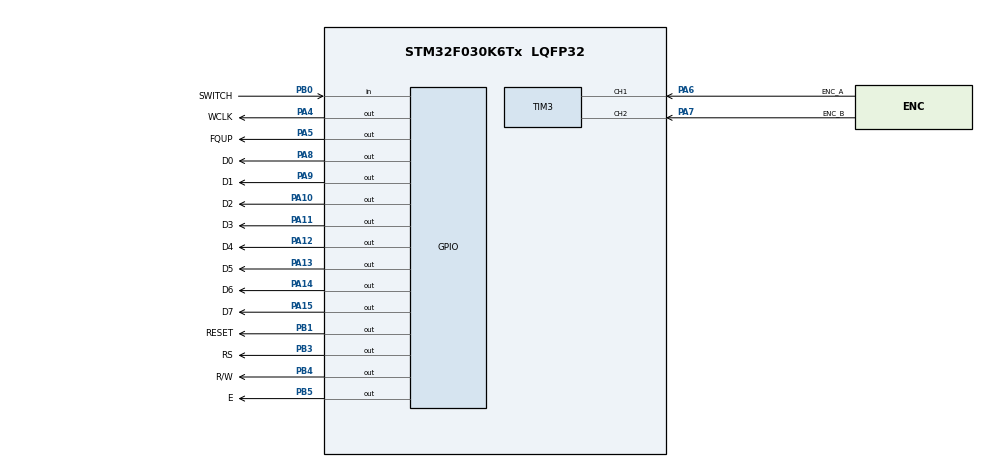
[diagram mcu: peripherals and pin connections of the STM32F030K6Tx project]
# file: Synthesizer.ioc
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Mcu.Family=STM32F0
Mcu.Name=STM32F030K6Tx
Mcu.Package=LQFP32
PA10.GPIO_FMA10=HAL_SYSCFG_FASTMODEPLUS_I2C_PA10
PA10.GPIO_Label=D2
PA10.GPIO_ModeDefaultOutputPP=GPIO_MODE_OUTPUT_PP
PA10.GPIO_PuPd=GPIO_NOPULL
PA10.GPIO_Speed=GPIO_SPEED_HIGH
PA10.Signal=GPIO_Output
PA11.GPIO_Label=D3
PA11.GPIO_ModeDefaultOutputPP=GPIO_MODE_OUTPUT_PP
PA11.GPIO_PuPd=GPIO_NOPULL
PA11.GPIO_Speed=GPIO_SPEED_HIGH
PA11.Signal=GPIO_Output
PA12.GPIO_Label=D4
PA12.GPIO_ModeDefaultOutputPP=GPIO_MODE_OUTPUT_PP
PA12.GPIO_PuPd=GPIO_NOPULL
PA12.GPIO_Speed=GPIO_SPEED_HIGH
PA12.Signal=GPIO_Output
PA13.GPIO_Label=D5
PA13.GPIO_ModeDefaultOutputPP=GPIO_MODE_OUTPUT_PP
PA13.GPIO_PuPd=GPIO_NOPULL
PA13.GPIO_Speed=GPIO_SPEED_HIGH
PA13.Signal=GPIO_Output
PA14.GPIO_Label=D6
PA14.GPIO_ModeDefaultOutputPP=GPIO_MODE_OUTPUT_PP
PA14.GPIO_PuPd=GPIO_NOPULL
PA14.GPIO_Speed=GPIO_SPEED_HIGH
PA14.Signal=GPIO_Output
PA15.GPIO_Label=D7
PA15.GPIO_ModeDefaultOutputPP=GPIO_MODE_OUTPUT_PP
PA15.GPIO_PuPd=GPIO_NOPULL
PA15.GPIO_Speed=GPIO_SPEED_HIGH
PA15.Signal=GPIO_Output
PA4.GPIO_Label=WCLK
PA4.GPIO_ModeDefaultOutputPP=GPIO_MODE_OUTPUT_PP
PA4.GPIO_PuPd=GPIO_NOPULL
PA4.GPIO_Speed=GPIO_SPEED_HIGH
PA4.Signal=GPIO_Output
PA5.GPIO_Label=FQUP
PA5.GPIO_ModeDefaultOutputPP=GPIO_MODE_OUTPUT_PP
PA5.GPIO_PuPd=GPIO_NOPULL
PA5.GPIO_Speed=GPIO_SPEED_HIGH
PA5.Signal=GPIO_Output
PA6.GPIO_Label=ENC_A
PA6.GPIO_ModeDefaultPP=GPIO_MODE_AF_PP
PA6.GPIO_PuPd=GPIO_PULLUP
PA6.GPIO_Speed=GPIO_SPEED_LOW
PA6.Signal=S_TIM3_CH1
PA7.GPIO_Label=ENC_B
PA7.GPIO_ModeDefaultPP=GPIO_MODE_AF_PP
PA7.GPIO_PuPd=GPIO_PULLUP
PA7.GPIO_Speed=GPIO_SPEED_LOW
PA7.Signal=S_TIM3_CH2
PA8.GPIO_Label=D0
PA8.GPIO_ModeDefaultOutputPP=GPIO_MODE_OUTPUT_PP
PA8.GPIO_PuPd=GPIO_NOPULL
PA8.GPIO_Speed=GPIO_SPEED_HIGH
PA8.Signal=GPIO_Output
PA9.GPIO_FMA9=HAL_SYSCFG_FASTMODEPLUS_I2C_PA9
PA9.GPIO_Label=D1
PA9.GPIO_ModeDefaultOutputPP=GPIO_MODE_OUTPUT_PP
PA9.GPIO_PuPd=GPIO_NOPULL
PA9.GPIO_Speed=GPIO_SPEED_HIGH
PA9.Signal=GPIO_Output
PB0.GPIO_Label=SWITCH
PB0.GPIO_Mode=GPIO_MODE_INPUT
PB0.GPIO_PuPd=GPIO_PULLUP
PB0.Signal=GPIO_Input
PB1.GPIO_Label=RESET
PB1.GPIO_ModeDefaultOutputPP=GPIO_MODE_OUTPUT_PP
PB1.GPIO_PuPd=GPIO_NOPULL
PB1.GPIO_Speed=GPIO_SPEED_HIGH
PB1.Signal=GPIO_Output
PB3.GPIO_Label=RS
PB3.GPIO_ModeDefaultOutputPP=GPIO_MODE_OUTPUT_PP
PB3.GPIO_PuPd=GPIO_NOPULL
PB3.GPIO_Speed=GPIO_SPEED_HIGH
PB3.Signal=GPIO_Output
PB4.GPIO_Label=R/W
PB4.GPIO_ModeDefaultOutputPP=GPIO_MODE_OUTPUT_PP
PB4.GPIO_PuPd=GPIO_NOPULL
PB4.GPIO_Speed=GPIO_SPEED_HIGH
PB4.Signal=GPIO_Output
PB5.GPIO_Label=E
PB5.GPIO_ModeDefaultOutputPP=GPIO_MODE_OUTPUT_PP
PB5.GPIO_PuPd=GPIO_NOPULL
PB5.GPIO_Speed=GPIO_SPEED_HIGH
PB5.Signal=GPIO_Output
PF0-OSC_IN.Mode=HSE-External-Oscillator
PF0-OSC_IN.Signal=RCC_OSC_IN
PF1-OSC_OUT.Mode=HSE-External-Oscillator
PF1-OSC_OUT.Signal=RCC_OSC_OUT
ProjectManager.TargetToolchain=MDK-ARM V5
SH.S_TIM3_CH1.0=TIM3_CH1,Encoder_Interface
SH.S_TIM3_CH2.0=TIM3_CH2,Encoder_Interface
board=Synthesizer

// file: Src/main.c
/**
  ******************************************************************************
  * File Name          : main.c
  * Description        : Main program body
  ******************************************************************************
  *
  * COPYRIGHT(c) 2016 STMicroelectronics
  *
  * Redistribution and use in source and binary forms, with or without modification,
  * are permitted provided that the following conditions are met:
  *   1. Redistributions of source code must retain the above copyright notice,
  *      this list of conditions and the following disclaimer.
  *   2. Redistributions in binary form must reproduce the above copyright notice,
  *      this list of conditions and the following disclaimer in the documentation
  *      and/or other materials provided with the distribution.
  *   3. Neither the name of STMicroelectronics nor the names of its contributors
  *      may be used to endorse or promote products derived from this software
  *      without specific prior written permission.
  *
  * THIS SOFTWARE IS PROVIDED BY THE COPYRIGHT HOLDERS AND CONTRIBUTORS "AS IS"
  * AND ANY EXPRESS OR IMPLIED WARRANTIES, INCLUDING, BUT NOT LIMITED TO, THE
  * IMPLIED WARRANTIES OF MERCHANTABILITY AND FITNESS FOR A PARTICULAR PURPOSE ARE
  * DISCLAIMED. IN NO EVENT SHALL THE COPYRIGHT HOLDER OR CONTRIBUTORS BE LIABLE
  * FOR ANY DIRECT, INDIRECT, INCIDENTAL, SPECIAL, EXEMPLARY, OR CONSEQUENTIAL
  * DAMAGES (INCLUDING, BUT NOT LIMITED TO, PROCUREMENT OF SUBSTITUTE GOODS OR
  * SERVICES; LOSS OF USE, DATA, OR PROFITS; OR BUSINESS INTERRUPTION) HOWEVER
  * CAUSED AND ON ANY THEORY OF LIABILITY, WHETHER IN CONTRACT, STRICT LIABILITY,
  * OR TORT (INCLUDING NEGLIGENCE OR OTHERWISE) ARISING IN ANY WAY OUT OF THE USE
  * OF THIS SOFTWARE, EVEN IF ADVISED OF THE POSSIBILITY OF SUCH DAMAGE.
  *
  ******************************************************************************
  */
#include "stm32f0xx_hal.h"

/* USER CODE BEGIN Includes */
#include "hd44780.h"
#include "hd44780_stm32f0xx.h"
/* USER CODE END Includes */

TIM_HandleTypeDef htim3;
HD44780 lcd;
HD44780_STM32F0xx_GPIO_Driver lcd_pindriver;
volatile uint32_t systick_ms = 0;
/* USER CODE BEGIN PV */
/* Private variables ---------------------------------------------------------*/
/* USER CODE END PV */

void SystemClock_Config(void);
static void MX_GPIO_Init(void);
static void MX_TIM3_Init(void);
void init_lcd(void);
void delay_microseconds(uint16_t us);
uint32_t uint32_time_diff(uint32_t now, uint32_t before);
void hd44780_assert_failure_handler(const char *filename, unsigned long line);
/* USER CODE BEGIN PFP */
/* Private function prototypes -----------------------------------------------*/

/* USER CODE END PFP */

int main(void)
{

  /* MCU Configuration----------------------------------------------------------*/

  /* Reset of all peripherals, Initializes the Flash interface and the Systick. */
  HAL_Init();

  /* Configure the system clock */
  SystemClock_Config();

  /* Initialize all configured peripherals */
  MX_GPIO_Init();
  MX_TIM3_Init();

  /* USER CODE BEGIN 2 */
	init_lcd();

  /* USER CODE END 2 */

  /* Infinite loop */
  while (1)
  {

  }

}

/** System Clock Configuration
*/
void SystemClock_Config(void)
{

  RCC_OscInitTypeDef RCC_OscInitStruct;
  RCC_ClkInitTypeDef RCC_ClkInitStruct;

  RCC_OscInitStruct.OscillatorType = RCC_OSCILLATORTYPE_HSI;
  RCC_OscInitStruct.HSIState = RCC_HSI_ON;
  RCC_OscInitStruct.HSICalibrationValue = 16;
  RCC_OscInitStruct.PLL.PLLState = RCC_PLL_NONE;
  HAL_RCC_OscConfig(&RCC_OscInitStruct);

  RCC_ClkInitStruct.ClockType = RCC_CLOCKTYPE_SYSCLK;
  RCC_ClkInitStruct.SYSCLKSource = RCC_SYSCLKSOURCE_HSI;
  RCC_ClkInitStruct.AHBCLKDivider = RCC_SYSCLK_DIV1;
  RCC_ClkInitStruct.APB1CLKDivider = RCC_HCLK_DIV1;
  HAL_RCC_ClockConfig(&RCC_ClkInitStruct, FLASH_LATENCY_0);

  HAL_SYSTICK_Config(HAL_RCC_GetHCLKFreq()/1000);

  HAL_SYSTICK_CLKSourceConfig(SYSTICK_CLKSOURCE_HCLK);

}

/* TIM3 init function */
void MX_TIM3_Init(void)
{

  TIM_Encoder_InitTypeDef sConfig;
  TIM_MasterConfigTypeDef sMasterConfig;

  htim3.Instance = TIM3;
  htim3.Init.Prescaler = 0;
  htim3.Init.CounterMode = TIM_COUNTERMODE_UP;
  htim3.Init.Period = 0;
  htim3.Init.ClockDivision = TIM_CLOCKDIVISION_DIV1;
  sConfig.EncoderMode = TIM_ENCODERMODE_TI1;
  sConfig.IC1Polarity = TIM_ICPOLARITY_RISING;
  sConfig.IC1Selection = TIM_ICSELECTION_DIRECTTI;
  sConfig.IC1Prescaler = TIM_ICPSC_DIV1;
  sConfig.IC1Filter = 0;
  sConfig.IC2Polarity = TIM_ICPOLARITY_RISING;
  sConfig.IC2Selection = TIM_ICSELECTION_DIRECTTI;
  sConfig.IC2Prescaler = TIM_ICPSC_DIV1;
  sConfig.IC2Filter = 0;
  HAL_TIM_Encoder_Init(&htim3, &sConfig);

  sMasterConfig.MasterOutputTrigger = TIM_TRGO_RESET;
  sMasterConfig.MasterSlaveMode = TIM_MASTERSLAVEMODE_DISABLE;
  HAL_TIMEx_MasterConfigSynchronization(&htim3, &sMasterConfig);

}

/** Configure pins as
        * Analog
        * Input
        * Output
        * EVENT_OUT
        * EXTI
*/
void MX_GPIO_Init(void)
{

  GPIO_InitTypeDef GPIO_InitStruct;

  /* GPIO Ports Clock Enable */
  __GPIOF_CLK_ENABLE();
  __GPIOA_CLK_ENABLE();
  __GPIOB_CLK_ENABLE();

  /*Configure GPIO pins : PA4 PA5 PA8 PA9
                           PA10 PA11 PA12 PA13
                           PA14 PA15 */
  GPIO_InitStruct.Pin = GPIO_PIN_4|GPIO_PIN_5|GPIO_PIN_8|GPIO_PIN_9
                          |GPIO_PIN_10|GPIO_PIN_11|GPIO_PIN_12|GPIO_PIN_13
                          |GPIO_PIN_14|GPIO_PIN_15;
  GPIO_InitStruct.Mode = GPIO_MODE_OUTPUT_PP;
  GPIO_InitStruct.Pull = GPIO_NOPULL;
  GPIO_InitStruct.Speed = GPIO_SPEED_HIGH;
  HAL_GPIO_Init(GPIOA, &GPIO_InitStruct);

  /*Configure GPIO pin : PB0 */
  GPIO_InitStruct.Pin = GPIO_PIN_0;
  GPIO_InitStruct.Mode = GPIO_MODE_INPUT;
  GPIO_InitStruct.Pull = GPIO_PULLUP;
  HAL_GPIO_Init(GPIOB, &GPIO_InitStruct);

  /*Configure GPIO pins : PB1 PB3 PB4 PB5 */
  GPIO_InitStruct.Pin = GPIO_PIN_1|GPIO_PIN_3|GPIO_PIN_4|GPIO_PIN_5;
  GPIO_InitStruct.Mode = GPIO_MODE_OUTPUT_PP;
  GPIO_InitStruct.Pull = GPIO_NOPULL;
  GPIO_InitStruct.Speed = GPIO_SPEED_HIGH;
  HAL_GPIO_Init(GPIOB, &GPIO_InitStruct);
}

/* USER CODE BEGIN 4 */

void init_lcd(void)
{
  const HD44780_STM32F0xx_Pinout lcd_pinout =
  {
    {
      /* RS        */  { GPIOB, GPIO_PIN_3 },
      /* ENABLE    */  { GPIOB, GPIO_PIN_5 },
      /* RW        */  { GPIOB, GPIO_PIN_4 },
      /* Backlight */  { NULL, 0 },
      /* DP0       */  { GPIOA, GPIO_PIN_8 },
      /* DP1       */  { GPIOA, GPIO_PIN_9 },
      /* DP2       */  { GPIOA, GPIO_PIN_10 },
      /* DP3       */  { GPIOA, GPIO_PIN_11 },
      /* DP4       */  { GPIOA, GPIO_PIN_12 },
      /* DP5       */  { GPIOA, GPIO_PIN_13 },
      /* DP6       */  { GPIOA, GPIO_PIN_14 },
      /* DP7       */  { GPIOA, GPIO_PIN_15 },
    }
  };

  lcd_pindriver.interface = HD44780_STM32F0XX_PINDRIVER_INTERFACE;
  lcd_pindriver.pinout = lcd_pinout;
  lcd_pindriver.assert_failure_handler = hd44780_assert_failure_handler;

  const HD44780_Config lcd_config =
  {
    (HD44780_GPIO_Interface*)&lcd_pindriver,
    delay_microseconds,
    hd44780_assert_failure_handler,
    HD44780_OPT_USE_RW
  };

  //RCC_AHBPeriphClockCmd(RCC_AHBPeriph_GPIOB, ENABLE);
  hd44780_init(&lcd, HD44780_MODE_8BIT, &lcd_config, 16, 2, HD44780_CHARSIZE_5x8);
}

void delay_microseconds(uint16_t us)
{
  HAL_Delay(us);
}

uint32_t uint32_time_diff(uint32_t now, uint32_t before)
{
  return (now >= before) ? (now - before) : (UINT32_MAX - before + now);
}

void hd44780_assert_failure_handler(const char *filename, unsigned long line)
{
  (void)filename; (void)line;
  do {} while (1);
}

/* USER CODE END 4 */

/************************ (C) COPYRIGHT STMicroelectronics *****END OF FILE****/
